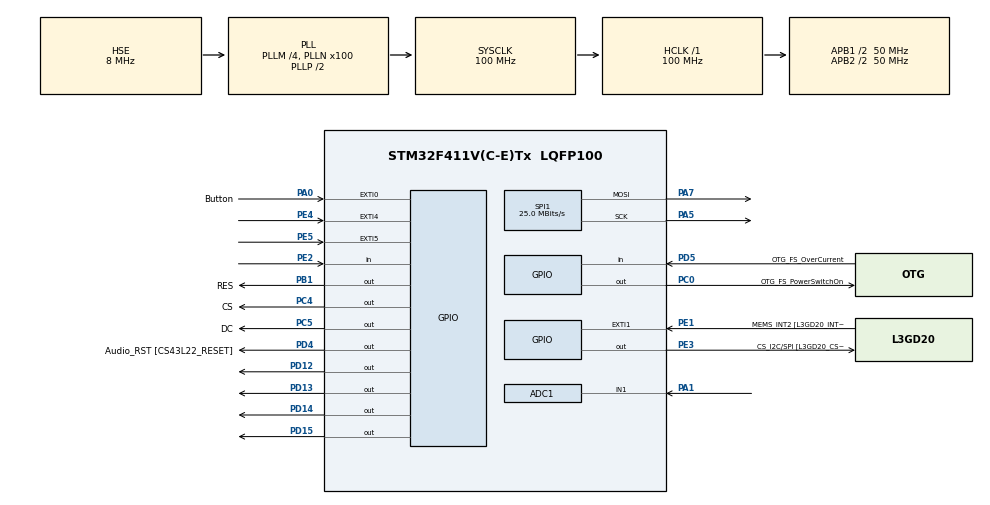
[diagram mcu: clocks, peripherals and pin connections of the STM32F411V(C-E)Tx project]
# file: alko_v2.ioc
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ADC1.Channel-0\#ChannelRegularConversion=ADC_CHANNEL_1
ADC1.ClockPrescaler=ADC_CLOCK_SYNC_PCLK_DIV8
ADC1.ContinuousConvMode=ENABLE
ADC1.DMAContinuousRequests=ENABLE
ADC1.NbrOfConversionFlag=1
ADC1.Rank-0\#ChannelRegularConversion=1
ADC1.SamplingTime-0\#ChannelRegularConversion=ADC_SAMPLETIME_480CYCLES
ADC1.ScanConvMode=ENABLE
ADC1.master=1
Dma.ADC1.0.Direction=DMA_PERIPH_TO_MEMORY
Dma.ADC1.0.FIFOMode=DMA_FIFOMODE_DISABLE
Dma.ADC1.0.Instance=DMA2_Stream0
Dma.ADC1.0.MemDataAlignment=DMA_MDATAALIGN_HALFWORD
Dma.ADC1.0.MemInc=DMA_MINC_ENABLE
Dma.ADC1.0.Mode=DMA_CIRCULAR
Dma.ADC1.0.PeriphDataAlignment=DMA_PDATAALIGN_HALFWORD
Dma.ADC1.0.PeriphInc=DMA_PINC_DISABLE
Dma.ADC1.0.Priority=DMA_PRIORITY_LOW
Dma.Request0=ADC1
Dma.Request1=SPI1_TX
Dma.SPI1_TX.1.Direction=DMA_MEMORY_TO_PERIPH
Dma.SPI1_TX.1.FIFOMode=DMA_FIFOMODE_DISABLE
Dma.SPI1_TX.1.Instance=DMA2_Stream2
Dma.SPI1_TX.1.MemDataAlignment=DMA_MDATAALIGN_BYTE
Dma.SPI1_TX.1.MemInc=DMA_MINC_ENABLE
Dma.SPI1_TX.1.Mode=DMA_NORMAL
Dma.SPI1_TX.1.PeriphDataAlignment=DMA_PDATAALIGN_BYTE
Dma.SPI1_TX.1.PeriphInc=DMA_PINC_DISABLE
Dma.SPI1_TX.1.Priority=DMA_PRIORITY_LOW
Mcu.Family=STM32F4
Mcu.Name=STM32F411V(C-E)Tx
Mcu.Package=LQFP100
NVIC.DMA2_Stream0_IRQn=true\:0\:0\:false\:false\:true
NVIC.DMA2_Stream2_IRQn=true\:0\:0\:false\:false\:true
NVIC.EXTI0_IRQn=true\:0\:2\:true\:false\:true
NVIC.PriorityGroup=NVIC_PRIORITYGROUP_0
NVIC.SPI1_IRQn=true\:0\:0\:false\:false\:true
NVIC.TIM1_UP_TIM10_IRQn=true\:0\:2\:false\:false\:true
PA0-WKUP.GPIO_Label=Button
PA0-WKUP.GPIO_ModeDefaultEXTI=GPIO_MODE_IT_RISING_FALLING
PA0-WKUP.Signal=GPXTI0
PA1.Signal=ADCx_IN1
PA5.Mode=TX_Only_Simplex_Unidirect_Master
PA5.Signal=SPI1_SCK
PA7.Mode=TX_Only_Simplex_Unidirect_Master
PA7.Signal=SPI1_MOSI
PB1.GPIO_Label=RES
PB1.Signal=GPIO_Output
PC0.GPIO_Label=OTG_FS_PowerSwitchOn
PC0.PinState=GPIO_PIN_SET
PC0.Signal=GPIO_Output
PC4.GPIO_Label=CS
PC4.Signal=GPIO_Output
PC5.GPIO_Label=DC
PC5.Signal=GPIO_Output
PD12.Signal=GPIO_Output
PD13.Signal=GPIO_Output
PD14.Signal=GPIO_Output
PD15.Signal=GPIO_Output
PD4.GPIO_Label=Audio_RST [CS43L22_RESET]
PD4.Signal=GPIO_Output
PD5.GPIO_Label=OTG_FS_OverCurrent
PD5.Signal=GPIO_Input
PE1.GPIO_Label=MEMS_INT2 [L3GD20_INT2]
PE1.GPIO_ModeDefaultEXTI=GPIO_MODE_EVT_RISING
PE1.Signal=GPXTI1
PE2.Signal=GPIO_Input
PE3.GPIO_Label=CS_I2C/SPI [L3GD20_CS_I2C/SPI]
PE3.Signal=GPIO_Output
PE4.GPIO_ModeDefaultEXTI=GPIO_MODE_EVT_RISING
PE4.Signal=GPXTI4
PE5.GPIO_ModeDefaultEXTI=GPIO_MODE_EVT_RISING
PE5.Signal=GPXTI5
PH0\ -\ OSC_IN.Mode=HSE-External-Oscillator
PH0\ -\ OSC_IN.Signal=RCC_OSC_IN
PH1\ -\ OSC_OUT.Mode=HSE-External-Oscillator
PH1\ -\ OSC_OUT.Signal=RCC_OSC_OUT
ProjectManager.HeapSize=0x200
ProjectManager.StackSize=0x400
ProjectManager.TargetToolchain=SW4STM32
RCC.48MHZClocksFreq_Value=25000000
RCC.AHBFreq_Value=100000000
RCC.APB1CLKDivider=RCC_HCLK_DIV2
RCC.APB1Freq_Value=50000000
RCC.APB1TimFreq_Value=100000000
RCC.APB2CLKDivider=RCC_HCLK_DIV2
RCC.APB2Freq_Value=50000000
RCC.APB2TimFreq_Value=100000000
RCC.CortexFreq_Value=100000000
RCC.HCLKFreq_Value=100000000
RCC.HSE_VALUE=8000000
RCC.HSI_VALUE=16000000
RCC.LSE_VALUE=32768
RCC.PLLI2SM=5
RCC.PLLI2SN=200
RCC.PLLM=4
RCC.PLLN=100
RCC.PLLQ=8
RCC.PLLSourceVirtual=RCC_PLLSOURCE_HSE
RCC.SYSCLKFreq_VALUE=100000000
RCC.SYSCLKSource=RCC_SYSCLKSOURCE_PLLCLK
RCC.VCOOutputFreq_Value=200000000
SH.ADCx_IN1.0=ADC1_IN1,IN1
SPI1.CLKPhase=SPI_PHASE_2EDGE
SPI1.CLKPolarity=SPI_POLARITY_HIGH
SPI1.CRCCalculation=SPI_CRCCALCULATION_DISABLE
SPI1.CalculateBaudRate=25.0 MBits/s
SPI1.Direction=SPI_DIRECTION_2LINES
SPI1.Mode=SPI_MODE_MASTER
SPI1.VirtualType=VM_MASTER
TIM10.Period=999
TIM10.Prescaler=9999
VP_TIM10_VS_ClockSourceINT.Mode=Enable_Timer
board=STM32F411E-DISCO

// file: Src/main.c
/**
  ******************************************************************************
  * File Name          : main.c
  * Description        : Main program body
  ******************************************************************************
  ** This notice applies to any and all portions of this file
  * that are not between comment pairs USER CODE BEGIN and
  * USER CODE END. Other portions of this file, whether
  * inserted by the user or by software development tools
  * are owned by their respective copyright owners.
  *
  * COPYRIGHT(c) 2017 STMicroelectronics
  *
  * Redistribution and use in source and binary forms, with or without modification,
  * are permitted provided that the following conditions are met:
  *   1. Redistributions of source code must retain the above copyright notice,
  *      this list of conditions and the following disclaimer.
  *   2. Redistributions in binary form must reproduce the above copyright notice,
  *      this list of conditions and the following disclaimer in the documentation
  *      and/or other materials provided with the distribution.
  *   3. Neither the name of STMicroelectronics nor the names of its contributors
  *      may be used to endorse or promote products derived from this software
  *      without specific prior written permission.
  *
  * THIS SOFTWARE IS PROVIDED BY THE COPYRIGHT HOLDERS AND CONTRIBUTORS "AS IS"
  * AND ANY EXPRESS OR IMPLIED WARRANTIES, INCLUDING, BUT NOT LIMITED TO, THE
  * IMPLIED WARRANTIES OF MERCHANTABILITY AND FITNESS FOR A PARTICULAR PURPOSE ARE
  * DISCLAIMED. IN NO EVENT SHALL THE COPYRIGHT HOLDER OR CONTRIBUTORS BE LIABLE
  * FOR ANY DIRECT, INDIRECT, INCIDENTAL, SPECIAL, EXEMPLARY, OR CONSEQUENTIAL
  * DAMAGES (INCLUDING, BUT NOT LIMITED TO, PROCUREMENT OF SUBSTITUTE GOODS OR
  * SERVICES; LOSS OF USE, DATA, OR PROFITS; OR BUSINESS INTERRUPTION) HOWEVER
  * CAUSED AND ON ANY THEORY OF LIABILITY, WHETHER IN CONTRACT, STRICT LIABILITY,
  * OR TORT (INCLUDING NEGLIGENCE OR OTHERWISE) ARISING IN ANY WAY OUT OF THE USE
  * OF THIS SOFTWARE, EVEN IF ADVISED OF THE POSSIBILITY OF SUCH DAMAGE.
  *
  ******************************************************************************
  */
#include "main.h"
#include "stm32f4xx_hal.h"

/* USER CODE BEGIN Includes */
#include "SSD1331.h"
/* USER CODE END Includes */

ADC_HandleTypeDef hadc1;
DMA_HandleTypeDef hdma_adc1;

SPI_HandleTypeDef hspi1;
DMA_HandleTypeDef hdma_spi1_tx;

TIM_HandleTypeDef htim10;

/* USER CODE BEGIN PV */
/* Private variables ---------------------------------------------------------*/
uint32_t alko;
uint32_t max;
enum Color color;
int temp_alko=0;
int initialized=0;
int timer=0;
int interrupt_init=0;
/* USER CODE END PV */

void SystemClock_Config(void);
static void MX_GPIO_Init(void);
static void MX_DMA_Init(void);
static void MX_SPI1_Init(void);
static void MX_ADC1_Init(void);
static void MX_TIM10_Init(void);

/* USER CODE BEGIN PFP */
/* Private function prototypes -----------------------------------------------*/
void HAL_TIM_PeriodElapsedCallback(TIM_HandleTypeDef *htim);
void HAL_GPIO_EXTI_Callback(uint16_t GPIO_Pin);
void check_max();
void show_alko();
void count_time_for_heat_up();
/* USER CODE END PFP */

/* USER CODE BEGIN 0 */
void check_max(){
	if(max<alko){
		max = alko;
	}
}

/**Count 60 seconds for MQ-3 to heat up
*/
void count_time_for_heat_up()
{
	 if(timer<=600)
		 timer++;
	 else
		 HAL_GPIO_WritePin(GPIOD, GPIO_PIN_15, GPIO_PIN_RESET);
}
/**Show current value of var alko on screen and refresh screen
*/
void show_alko(){
	 if(initialized==1){
		 if(!interrupt_init){
			 ssd1331_display_num(33, 22, temp_alko, 4, FONT_1608, BLACK);
		 	 temp_alko = alko;
		 	 ssd1331_display_num(33, 22, temp_alko, 4, FONT_1608, color);
		 }
	 }
}

/**Timer interrupt handle
 * @param htim: pointer to an timer instance
*/
void HAL_TIM_PeriodElapsedCallback(TIM_HandleTypeDef *htim)
{
	 if(htim->Instance == TIM10){
		 show_alko();
		 count_time_for_heat_up();
		 check_max();
	 }
}

void HAL_GPIO_EXTI_Callback(uint16_t GPIO_Pin){
	if(GPIO_Pin == Button_Pin && interrupt_init == 0)
	{
		interrupt_init = 1;
	}
}
/* USER CODE END 0 */

int main(void)
{

  /* MCU Configuration----------------------------------------------------------*/

  /* Reset of all peripherals, Initializes the Flash interface and the Systick. */
  HAL_Init();

  /* Configure the system clock */
  SystemClock_Config();

  /* USER CODE BEGIN SysInit */
  NVIC_SetPriority(SysTick_IRQn, 0);
  /* USER CODE END SysInit */

  /* Initialize all configured peripherals */
  MX_GPIO_Init();
  MX_DMA_Init();
  MX_SPI1_Init();
  MX_ADC1_Init();
  MX_TIM10_Init();

  /* USER CODE BEGIN 2 */
  HAL_TIM_Base_Start_IT(&htim10);
  HAL_ADC_Start_DMA(&hadc1, &alko, 1);
  ssd1331_init();
  ssd1331_display_string(0, 0, "Alkomat     Radek Lejba" , FONT_1608 ,GREEN);
  HAL_Delay(3000);
  ssd1331_clear_screen(BLACK);
  HAL_GPIO_WritePin(GPIOD, GPIO_PIN_15, GPIO_PIN_SET);
  initialized=1;
  /* USER CODE END 2 */

  /* Infinite loop */
  /* USER CODE BEGIN WHILE */
  while (1)
  {
	  if(initialized==1){
		  if(alko<600){
			  HAL_GPIO_WritePin(GPIOD, GPIO_PIN_12, GPIO_PIN_SET);
			  HAL_GPIO_WritePin(GPIOD, GPIO_PIN_13, GPIO_PIN_RESET);
			  HAL_GPIO_WritePin(GPIOD, GPIO_PIN_14, GPIO_PIN_RESET);
			  color=GREEN;
		  }
		  else if(alko>600 && alko<1200){
			  HAL_GPIO_WritePin(GPIOD, GPIO_PIN_13, GPIO_PIN_SET);
			  HAL_GPIO_WritePin(GPIOD, GPIO_PIN_14, GPIO_PIN_RESET);
			  HAL_GPIO_WritePin(GPIOD, GPIO_PIN_12, GPIO_PIN_RESET);
			  color = YELLOW;
		  }
		  else if(alko>1200){
			  HAL_GPIO_WritePin(GPIOD, GPIO_PIN_14, GPIO_PIN_SET);
			  HAL_GPIO_WritePin(GPIOD, GPIO_PIN_12, GPIO_PIN_RESET);
			  HAL_GPIO_WritePin(GPIOD, GPIO_PIN_13, GPIO_PIN_RESET);
			  color = RED;
		  }
		  if(interrupt_init == 1){
			  ssd1331_clear_screen(BLACK);
			  ssd1331_display_string(0, 0, "Najwyzszy   wynik:" , FONT_1608 ,GREEN);
			  ssd1331_display_num(50, 17, max, 4, FONT_1608, WHITE);
			  HAL_Delay(3000);
			  ssd1331_clear_screen(BLACK);
			  interrupt_init = 0;
		  }
	  }
  /* USER CODE END WHILE */

  }

}

/** System Clock Configuration
*/
void SystemClock_Config(void)
{

  RCC_OscInitTypeDef RCC_OscInitStruct;
  RCC_ClkInitTypeDef RCC_ClkInitStruct;

    /**Configure the main internal regulator output voltage
    */
  __HAL_RCC_PWR_CLK_ENABLE();

  __HAL_PWR_VOLTAGESCALING_CONFIG(PWR_REGULATOR_VOLTAGE_SCALE1);

    /**Initializes the CPU, AHB and APB busses clocks
    */
  RCC_OscInitStruct.OscillatorType = RCC_OSCILLATORTYPE_HSE;
  RCC_OscInitStruct.HSEState = RCC_HSE_ON;
  RCC_OscInitStruct.PLL.PLLState = RCC_PLL_ON;
  RCC_OscInitStruct.PLL.PLLSource = RCC_PLLSOURCE_HSE;
  RCC_OscInitStruct.PLL.PLLM = 4;
  RCC_OscInitStruct.PLL.PLLN = 100;
  RCC_OscInitStruct.PLL.PLLP = RCC_PLLP_DIV2;
  RCC_OscInitStruct.PLL.PLLQ = 8;
  if (HAL_RCC_OscConfig(&RCC_OscInitStruct) != HAL_OK)
  {
    _Error_Handler(__FILE__, __LINE__);
  }

    /**Initializes the CPU, AHB and APB busses clocks
    */
  RCC_ClkInitStruct.ClockType = RCC_CLOCKTYPE_HCLK|RCC_CLOCKTYPE_SYSCLK
                              |RCC_CLOCKTYPE_PCLK1|RCC_CLOCKTYPE_PCLK2;
  RCC_ClkInitStruct.SYSCLKSource = RCC_SYSCLKSOURCE_PLLCLK;
  RCC_ClkInitStruct.AHBCLKDivider = RCC_SYSCLK_DIV1;
  RCC_ClkInitStruct.APB1CLKDivider = RCC_HCLK_DIV2;
  RCC_ClkInitStruct.APB2CLKDivider = RCC_HCLK_DIV2;

  if (HAL_RCC_ClockConfig(&RCC_ClkInitStruct, FLASH_LATENCY_3) != HAL_OK)
  {
    _Error_Handler(__FILE__, __LINE__);
  }

    /**Configure the Systick interrupt time
    */
  HAL_SYSTICK_Config(HAL_RCC_GetHCLKFreq()/1000);

    /**Configure the Systick
    */
  HAL_SYSTICK_CLKSourceConfig(SYSTICK_CLKSOURCE_HCLK);

  /* SysTick_IRQn interrupt configuration */
  HAL_NVIC_SetPriority(SysTick_IRQn, 0, 0);
}

/* ADC1 init function */
static void MX_ADC1_Init(void)
{

  ADC_ChannelConfTypeDef sConfig;

    /**Configure the global features of the ADC (Clock, Resolution, Data Alignment and number of conversion)
    */
  hadc1.Instance = ADC1;
  hadc1.Init.ClockPrescaler = ADC_CLOCK_SYNC_PCLK_DIV8;
  hadc1.Init.Resolution = ADC_RESOLUTION_12B;
  hadc1.Init.ScanConvMode = ENABLE;
  hadc1.Init.ContinuousConvMode = ENABLE;
  hadc1.Init.DiscontinuousConvMode = DISABLE;
  hadc1.Init.ExternalTrigConvEdge = ADC_EXTERNALTRIGCONVEDGE_NONE;
  hadc1.Init.ExternalTrigConv = ADC_SOFTWARE_START;
  hadc1.Init.DataAlign = ADC_DATAALIGN_RIGHT;
  hadc1.Init.NbrOfConversion = 1;
  hadc1.Init.DMAContinuousRequests = ENABLE;
  hadc1.Init.EOCSelection = ADC_EOC_SINGLE_CONV;
  if (HAL_ADC_Init(&hadc1) != HAL_OK)
  {
    _Error_Handler(__FILE__, __LINE__);
  }

    /**Configure for the selected ADC regular channel its corresponding rank in the sequencer and its sample time.
    */
  sConfig.Channel = ADC_CHANNEL_1;
  sConfig.Rank = 1;
  sConfig.SamplingTime = ADC_SAMPLETIME_480CYCLES;
  if (HAL_ADC_ConfigChannel(&hadc1, &sConfig) != HAL_OK)
  {
    _Error_Handler(__FILE__, __LINE__);
  }

}

/* SPI1 init function */
static void MX_SPI1_Init(void)
{

  hspi1.Instance = SPI1;
  hspi1.Init.Mode = SPI_MODE_MASTER;
  hspi1.Init.Direction = SPI_DIRECTION_2LINES;
  hspi1.Init.DataSize = SPI_DATASIZE_8BIT;
  hspi1.Init.CLKPolarity = SPI_POLARITY_HIGH;
  hspi1.Init.CLKPhase = SPI_PHASE_2EDGE;
  hspi1.Init.NSS = SPI_NSS_SOFT;
  hspi1.Init.BaudRatePrescaler = SPI_BAUDRATEPRESCALER_2;
  hspi1.Init.FirstBit = SPI_FIRSTBIT_MSB;
  hspi1.Init.TIMode = SPI_TIMODE_DISABLE;
  hspi1.Init.CRCCalculation = SPI_CRCCALCULATION_DISABLE;
  hspi1.Init.CRCPolynomial = 10;
  if (HAL_SPI_Init(&hspi1) != HAL_OK)
  {
    _Error_Handler(__FILE__, __LINE__);
  }

}

/* TIM10 init function */
static void MX_TIM10_Init(void)
{

  htim10.Instance = TIM10;
  htim10.Init.Prescaler = 9999;
  htim10.Init.CounterMode = TIM_COUNTERMODE_UP;
  htim10.Init.Period = 999;
  htim10.Init.ClockDivision = TIM_CLOCKDIVISION_DIV1;
  if (HAL_TIM_Base_Init(&htim10) != HAL_OK)
  {
    _Error_Handler(__FILE__, __LINE__);
  }

}

static void MX_DMA_Init(void)
{
  /* DMA controller clock enable */
  __HAL_RCC_DMA2_CLK_ENABLE();

  /* DMA interrupt init */
  /* DMA2_Stream0_IRQn interrupt configuration */
  HAL_NVIC_SetPriority(DMA2_Stream0_IRQn, 0, 0);
  HAL_NVIC_EnableIRQ(DMA2_Stream0_IRQn);
  /* DMA2_Stream2_IRQn interrupt configuration */
  HAL_NVIC_SetPriority(DMA2_Stream2_IRQn, 0, 0);
  HAL_NVIC_EnableIRQ(DMA2_Stream2_IRQn);

}

/** Configure pins as
        * Analog
        * Input
        * Output
        * EVENT_OUT
        * EXTI
*/
static void MX_GPIO_Init(void)
{

  GPIO_InitTypeDef GPIO_InitStruct;

  /* GPIO Ports Clock Enable */
  __HAL_RCC_GPIOE_CLK_ENABLE();
  __HAL_RCC_GPIOH_CLK_ENABLE();
  __HAL_RCC_GPIOC_CLK_ENABLE();
  __HAL_RCC_GPIOA_CLK_ENABLE();
  __HAL_RCC_GPIOB_CLK_ENABLE();
  __HAL_RCC_GPIOD_CLK_ENABLE();

  /*Configure GPIO pin Output Level */
  HAL_GPIO_WritePin(CS_I2C_SPI_GPIO_Port, CS_I2C_SPI_Pin, GPIO_PIN_RESET);

  /*Configure GPIO pin Output Level */
  HAL_GPIO_WritePin(OTG_FS_PowerSwitchOn_GPIO_Port, OTG_FS_PowerSwitchOn_Pin, GPIO_PIN_SET);

  /*Configure GPIO pin Output Level */
  HAL_GPIO_WritePin(GPIOC, CS_Pin|DC_Pin, GPIO_PIN_RESET);

  /*Configure GPIO pin Output Level */
  HAL_GPIO_WritePin(RES_GPIO_Port, RES_Pin, GPIO_PIN_RESET);

  /*Configure GPIO pin Output Level */
  HAL_GPIO_WritePin(GPIOD, GPIO_PIN_12|GPIO_PIN_13|GPIO_PIN_14|GPIO_PIN_15
                          |Audio_RST_Pin, GPIO_PIN_RESET);

  /*Configure GPIO pin : PE2 */
  GPIO_InitStruct.Pin = GPIO_PIN_2;
  GPIO_InitStruct.Mode = GPIO_MODE_INPUT;
  GPIO_InitStruct.Pull = GPIO_NOPULL;
  HAL_GPIO_Init(GPIOE, &GPIO_InitStruct);

  /*Configure GPIO pin : CS_I2C_SPI_Pin */
  GPIO_InitStruct.Pin = CS_I2C_SPI_Pin;
  GPIO_InitStruct.Mode = GPIO_MODE_OUTPUT_PP;
  GPIO_InitStruct.Pull = GPIO_NOPULL;
  GPIO_InitStruct.Speed = GPIO_SPEED_FREQ_LOW;
  HAL_GPIO_Init(CS_I2C_SPI_GPIO_Port, &GPIO_InitStruct);

  /*Configure GPIO pins : PE4 PE5 MEMS_INT2_Pin */
  GPIO_InitStruct.Pin = GPIO_PIN_4|GPIO_PIN_5|MEMS_INT2_Pin;
  GPIO_InitStruct.Mode = GPIO_MODE_EVT_RISING;
  GPIO_InitStruct.Pull = GPIO_NOPULL;
  HAL_GPIO_Init(GPIOE, &GPIO_InitStruct);

  /*Configure GPIO pins : OTG_FS_PowerSwitchOn_Pin CS_Pin DC_Pin */
  GPIO_InitStruct.Pin = OTG_FS_PowerSwitchOn_Pin|CS_Pin|DC_Pin;
  GPIO_InitStruct.Mode = GPIO_MODE_OUTPUT_PP;
  GPIO_InitStruct.Pull = GPIO_NOPULL;
  GPIO_InitStruct.Speed = GPIO_SPEED_FREQ_LOW;
  HAL_GPIO_Init(GPIOC, &GPIO_InitStruct);

  /*Configure GPIO pin : Button_Pin */
  GPIO_InitStruct.Pin = Button_Pin;
  GPIO_InitStruct.Mode = GPIO_MODE_IT_RISING_FALLING;
  GPIO_InitStruct.Pull = GPIO_NOPULL;
  HAL_GPIO_Init(Button_GPIO_Port, &GPIO_InitStruct);

  /*Configure GPIO pin : RES_Pin */
  GPIO_InitStruct.Pin = RES_Pin;
  GPIO_InitStruct.Mode = GPIO_MODE_OUTPUT_PP;
  GPIO_InitStruct.Pull = GPIO_NOPULL;
  GPIO_InitStruct.Speed = GPIO_SPEED_FREQ_LOW;
  HAL_GPIO_Init(RES_GPIO_Port, &GPIO_InitStruct);

  /*Configure GPIO pins : PD12 PD13 PD14 PD15
                           Audio_RST_Pin */
  GPIO_InitStruct.Pin = GPIO_PIN_12|GPIO_PIN_13|GPIO_PIN_14|GPIO_PIN_15
                          |Audio_RST_Pin;
  GPIO_InitStruct.Mode = GPIO_MODE_OUTPUT_PP;
  GPIO_InitStruct.Pull = GPIO_NOPULL;
  GPIO_InitStruct.Speed = GPIO_SPEED_FREQ_LOW;
  HAL_GPIO_Init(GPIOD, &GPIO_InitStruct);

  /*Configure GPIO pin : OTG_FS_OverCurrent_Pin */
  GPIO_InitStruct.Pin = OTG_FS_OverCurrent_Pin;
  GPIO_InitStruct.Mode = GPIO_MODE_INPUT;
  GPIO_InitStruct.Pull = GPIO_NOPULL;
  HAL_GPIO_Init(OTG_FS_OverCurrent_GPIO_Port, &GPIO_InitStruct);

  /* EXTI interrupt init*/
  HAL_NVIC_SetPriority(EXTI0_IRQn, 0, 2);
  HAL_NVIC_EnableIRQ(EXTI0_IRQn);

}

void _Error_Handler(char * file, int line)
{
  while(1)
  {
  }
}

/************************ (C) COPYRIGHT STMicroelectronics *****END OF FILE****/
